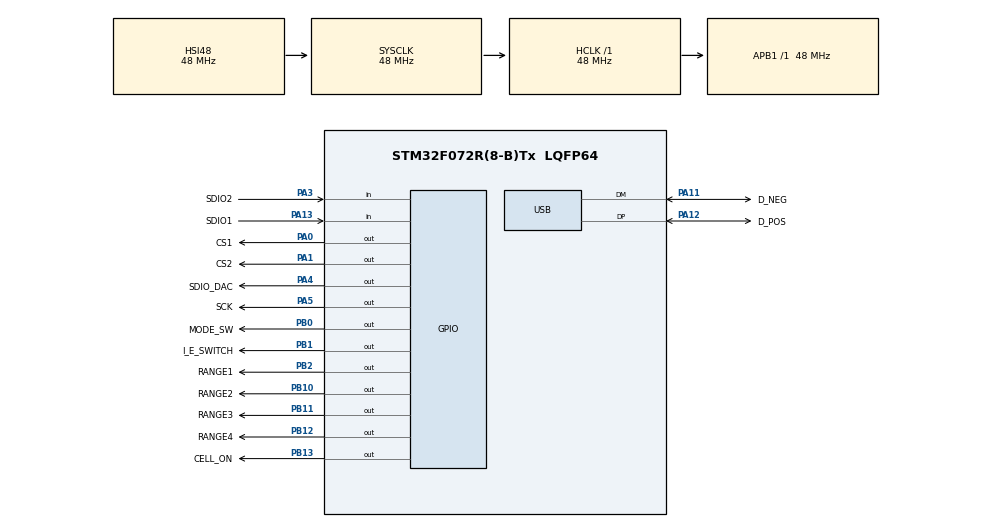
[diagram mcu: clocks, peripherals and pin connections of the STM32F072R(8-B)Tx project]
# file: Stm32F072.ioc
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Mcu.Family=STM32F0
Mcu.Name=STM32F072R(8-B)Tx
Mcu.Package=LQFP64
NVIC.USB_IRQn=true\:0\:0\:false\:false\:true\:false\:true
PA0.GPIO_Label=CS1
PA0.Signal=GPIO_Output
PA1.GPIO_Label=CS2
PA1.Signal=GPIO_Output
PA11.GPIO_Label=D_NEG
PA11.Mode=Device
PA11.Signal=USB_DM
PA12.GPIO_Label=D_POS
PA12.Mode=Device
PA12.Signal=USB_DP
PA13.GPIO_Label=SDIO1
PA13.Signal=GPIO_Input
PA3.GPIO_Label=SDIO2
PA3.Signal=GPIO_Input
PA4.GPIO_Label=SDIO_DAC
PA4.GPIO_ModeDefaultOutputPP=GPIO_MODE_OUTPUT_PP
PA4.GPIO_PuPd=GPIO_NOPULL
PA4.GPIO_Speed=GPIO_SPEED_FREQ_HIGH
PA4.PinState=GPIO_PIN_RESET
PA4.Signal=GPIO_Output
PA5.GPIO_Label=SCK
PA5.GPIO_ModeDefaultOutputPP=GPIO_MODE_OUTPUT_PP
PA5.GPIO_PuPd=GPIO_NOPULL
PA5.GPIO_Speed=GPIO_SPEED_FREQ_HIGH
PA5.PinState=GPIO_PIN_RESET
PA5.Signal=GPIO_Output
PB0.GPIO_Label=MODE_SW
PB0.GPIO_ModeDefaultOutputPP=GPIO_MODE_OUTPUT_PP
PB0.GPIO_PuPd=GPIO_NOPULL
PB0.GPIO_Speed=GPIO_SPEED_FREQ_HIGH
PB0.PinState=GPIO_PIN_RESET
PB0.Signal=GPIO_Output
PB1.GPIO_Label=I_E_SWITCH
PB1.GPIO_ModeDefaultOutputPP=GPIO_MODE_OUTPUT_PP
PB1.GPIO_PuPd=GPIO_NOPULL
PB1.GPIO_Speed=GPIO_SPEED_FREQ_HIGH
PB1.PinState=GPIO_PIN_RESET
PB1.Signal=GPIO_Output
PB10.GPIO_Label=RANGE2
PB10.GPIO_ModeDefaultOutputPP=GPIO_MODE_OUTPUT_PP
PB10.GPIO_PuPd=GPIO_NOPULL
PB10.GPIO_Speed=GPIO_SPEED_FREQ_HIGH
PB10.PinState=GPIO_PIN_RESET
PB10.Signal=GPIO_Output
PB11.GPIO_Label=RANGE3
PB11.GPIO_ModeDefaultOutputPP=GPIO_MODE_OUTPUT_PP
PB11.GPIO_PuPd=GPIO_NOPULL
PB11.GPIO_Speed=GPIO_SPEED_FREQ_HIGH
PB11.PinState=GPIO_PIN_RESET
PB11.Signal=GPIO_Output
PB12.GPIO_Label=RANGE4
PB12.GPIO_ModeDefaultOutputPP=GPIO_MODE_OUTPUT_PP
PB12.GPIO_PuPd=GPIO_NOPULL
PB12.GPIO_Speed=GPIO_SPEED_FREQ_HIGH
PB12.PinState=GPIO_PIN_RESET
PB12.Signal=GPIO_Output
PB13.GPIO_Label=CELL_ON
PB13.GPIO_ModeDefaultOutputPP=GPIO_MODE_OUTPUT_PP
PB13.GPIO_PuPd=GPIO_NOPULL
PB13.GPIO_Speed=GPIO_SPEED_FREQ_HIGH
PB13.PinState=GPIO_PIN_RESET
PB13.Signal=GPIO_Output
PB2.GPIO_Label=RANGE1
PB2.GPIO_ModeDefaultOutputPP=GPIO_MODE_OUTPUT_PP
PB2.GPIO_PuPd=GPIO_NOPULL
PB2.GPIO_Speed=GPIO_SPEED_FREQ_HIGH
PB2.PinState=GPIO_PIN_RESET
PB2.Signal=GPIO_Output
ProjectManager.HeapSize=0x200
ProjectManager.StackSize=0x400
ProjectManager.TargetToolchain=STM32CubeIDE
RCC.AHBFreq_Value=48000000
RCC.APB1Freq_Value=48000000
RCC.APB1TimFreq_Value=48000000
RCC.HCLKFreq_Value=48000000
RCC.SYSCLKFreq_VALUE=48000000
RCC.SYSCLKSource=RCC_SYSCLKSOURCE_HSI48
USB_DEVICE.CLASS_NAME_FS=CDC
USB_DEVICE.VirtualMode=Cdc
USB_DEVICE.VirtualModeFS=Cdc_FS
VP_USB_DEVICE_VS_USB_DEVICE_CDC_FS.Mode=CDC_FS
board=custom

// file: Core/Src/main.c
/* USER CODE BEGIN Header */
/**
  ******************************************************************************
  * @file           : main.c
  * @brief          : Main program body
  ******************************************************************************
  * @attention
  *
  * <h2><center>&copy; Copyright (c) 2022 STMicroelectronics.
  * All rights reserved.</center></h2>
  *
  * This software component is licensed by ST under Ultimate Liberty license
  * SLA0044, the "License"; You may not use this file except in compliance with
  * the License. You may obtain a copy of the License at:
  *                             www.st.com/SLA0044
  *
  ******************************************************************************
  */
/* USER CODE END Header */
#include "main.h"
#include "usb_device.h"

/* USER CODE BEGIN Includes */
#include "spi_software.h"
/* USER CODE END Includes */

void SystemClock_Config(void);
static void MX_GPIO_Init(void);
/* USER CODE BEGIN PFP */
void InitializeIO();
/* USER CODE END PFP */

int main(void)
{

  /* MCU Configuration--------------------------------------------------------*/

  /* Reset of all peripherals, Initializes the Flash interface and the Systick. */
  HAL_Init();

  /* Configure the system clock */
  SystemClock_Config();

  /* Initialize all configured peripherals */
  MX_GPIO_Init();
  MX_USB_DEVICE_Init();
  /* USER CODE BEGIN 2 */
  InitializeIO();
  uint8_t heflashbuffer[3] = {0x01, 0x02, 0x03};
  uint8_t readData[3] = {0x00, 0x00, 0x00};
  DAC1220_Write3Bytes(8, heflashbuffer[0], heflashbuffer[1], heflashbuffer[2]);
  HAL_Delay(25);
  DAC1220_Read3Bytes(8, &readData[0], &readData[1], &readData[2] );
  /* USER CODE END 2 */

  /* Infinite loop */
  while (1)
  {

  }
}

void SystemClock_Config(void)
{
  RCC_OscInitTypeDef RCC_OscInitStruct = {0};
  RCC_ClkInitTypeDef RCC_ClkInitStruct = {0};
  RCC_PeriphCLKInitTypeDef PeriphClkInit = {0};

  /** Initializes the RCC Oscillators according to the specified parameters
  * in the RCC_OscInitTypeDef structure.
  */
  RCC_OscInitStruct.OscillatorType = RCC_OSCILLATORTYPE_HSI48;
  RCC_OscInitStruct.HSI48State = RCC_HSI48_ON;
  RCC_OscInitStruct.PLL.PLLState = RCC_PLL_NONE;
  if (HAL_RCC_OscConfig(&RCC_OscInitStruct) != HAL_OK)
  {
    Error_Handler();
  }
  /** Initializes the CPU, AHB and APB buses clocks
  */
  RCC_ClkInitStruct.ClockType = RCC_CLOCKTYPE_HCLK|RCC_CLOCKTYPE_SYSCLK
                              |RCC_CLOCKTYPE_PCLK1;
  RCC_ClkInitStruct.SYSCLKSource = RCC_SYSCLKSOURCE_HSI48;
  RCC_ClkInitStruct.AHBCLKDivider = RCC_SYSCLK_DIV1;
  RCC_ClkInitStruct.APB1CLKDivider = RCC_HCLK_DIV1;

  if (HAL_RCC_ClockConfig(&RCC_ClkInitStruct, FLASH_LATENCY_1) != HAL_OK)
  {
    Error_Handler();
  }
  PeriphClkInit.PeriphClockSelection = RCC_PERIPHCLK_USB;
  PeriphClkInit.UsbClockSelection = RCC_USBCLKSOURCE_HSI48;

  if (HAL_RCCEx_PeriphCLKConfig(&PeriphClkInit) != HAL_OK)
  {
    Error_Handler();
  }
}

static void MX_GPIO_Init(void)
{
  GPIO_InitTypeDef GPIO_InitStruct = {0};

  /* GPIO Ports Clock Enable */
  __HAL_RCC_GPIOA_CLK_ENABLE();
  __HAL_RCC_GPIOB_CLK_ENABLE();

  /*Configure GPIO pin Output Level */
  HAL_GPIO_WritePin(GPIOA, CS1_Pin|CS2_Pin|SDIO_DAC_Pin|SCK_Pin, GPIO_PIN_RESET);

  /*Configure GPIO pin Output Level */
  HAL_GPIO_WritePin(GPIOB, MODE_SW_Pin|I_E_SWITCH_Pin|RANGE1_Pin|RANGE2_Pin
                          |RANGE3_Pin|RANGE4_Pin|CELL_ON_Pin, GPIO_PIN_RESET);

  /*Configure GPIO pins : CS1_Pin CS2_Pin */
  GPIO_InitStruct.Pin = CS1_Pin|CS2_Pin;
  GPIO_InitStruct.Mode = GPIO_MODE_OUTPUT_PP;
  GPIO_InitStruct.Pull = GPIO_NOPULL;
  GPIO_InitStruct.Speed = GPIO_SPEED_FREQ_LOW;
  HAL_GPIO_Init(GPIOA, &GPIO_InitStruct);

  /*Configure GPIO pins : SDIO2_Pin SDIO1_Pin */
  GPIO_InitStruct.Pin = SDIO2_Pin|SDIO1_Pin;
  GPIO_InitStruct.Mode = GPIO_MODE_INPUT;
  GPIO_InitStruct.Pull = GPIO_NOPULL;
  HAL_GPIO_Init(GPIOA, &GPIO_InitStruct);

  /*Configure GPIO pins : SDIO_DAC_Pin SCK_Pin */
  GPIO_InitStruct.Pin = SDIO_DAC_Pin|SCK_Pin;
  GPIO_InitStruct.Mode = GPIO_MODE_OUTPUT_PP;
  GPIO_InitStruct.Pull = GPIO_NOPULL;
  GPIO_InitStruct.Speed = GPIO_SPEED_FREQ_HIGH;
  HAL_GPIO_Init(GPIOA, &GPIO_InitStruct);

  /*Configure GPIO pins : MODE_SW_Pin I_E_SWITCH_Pin RANGE1_Pin RANGE2_Pin
                           RANGE3_Pin RANGE4_Pin CELL_ON_Pin */
  GPIO_InitStruct.Pin = MODE_SW_Pin|I_E_SWITCH_Pin|RANGE1_Pin|RANGE2_Pin
                          |RANGE3_Pin|RANGE4_Pin|CELL_ON_Pin;
  GPIO_InitStruct.Mode = GPIO_MODE_OUTPUT_PP;
  GPIO_InitStruct.Pull = GPIO_NOPULL;
  GPIO_InitStruct.Speed = GPIO_SPEED_FREQ_HIGH;
  HAL_GPIO_Init(GPIOB, &GPIO_InitStruct);

}

/* USER CODE BEGIN 4 */

void InitializeIO()
{

	 HAL_GPIO_WritePin(MODE_SW_GPIO_Port, MODE_SW_Pin, GPIO_PIN_RESET); // initialize mode to potentiostatic
	 HAL_GPIO_WritePin(CELL_ON_GPIO_Port, CELL_ON_Pin, GPIO_PIN_RESET);// initialize cell to off position
	 HAL_GPIO_WritePin(RANGE1_GPIO_Port, RANGE1_Pin, GPIO_PIN_SET); // initialize range to range 1
	 HAL_GPIO_WritePin(RANGE2_GPIO_Port, RANGE2_Pin, GPIO_PIN_RESET);
	 HAL_GPIO_WritePin(RANGE2_GPIO_Port, RANGE2_Pin, GPIO_PIN_RESET);
	InitializeSPI();
	HAL_Delay(25); // power-up delay - necessary for DAC1220
//	DAC1220_Reset();
//	HAL_Delay(25);
//	DAC1220_Init();
	// HEFLASH_readBlock(heflashbuffer, 2, FLASH_ROWSIZE); // get dac calibration
//	DAC1220_Write3Bytes(8, heflashbuffer[0], heflashbuffer[1], heflashbuffer[2]); // apply dac calibration
//	DAC1220_Write3Bytes(12, heflashbuffer[3], heflashbuffer[4], heflashbuffer[5]);
}

/* USER CODE END 4 */

void Error_Handler(void)
{
}

/************************ (C) COPYRIGHT STMicroelectronics *****END OF FILE****/
